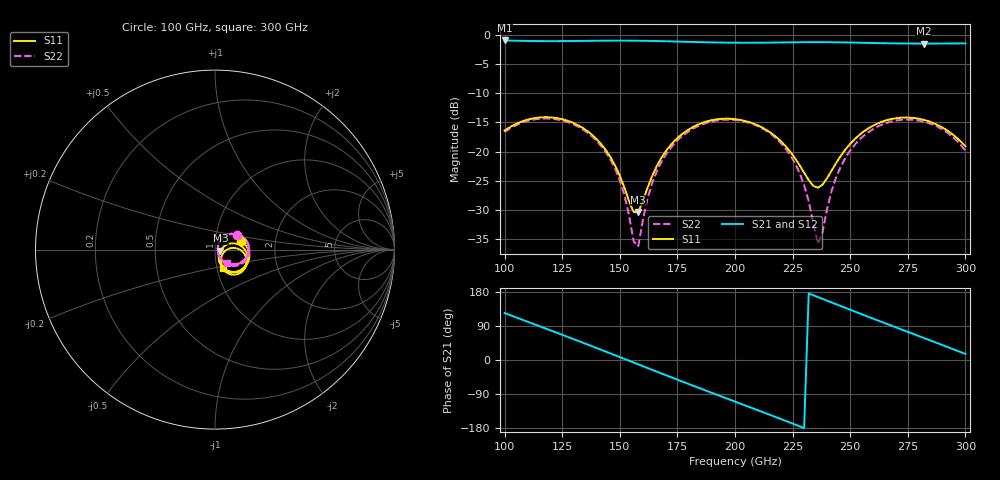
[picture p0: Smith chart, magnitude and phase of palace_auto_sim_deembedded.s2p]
! Created with skrf 1.11.0 (http://scikit-rf.org).
# GHz S DB R 50.0
!freq dBS11 angS11 dBS21 angS21 dBS12 angS12 dBS22 angS22
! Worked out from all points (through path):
!   101 points, 100 GHz to 300 GHz, reference 50 ohm
!   highest |S21| = -0.92 dB at 100 GHz (marker M1); lowest = -1.5 dB at 282 GHz (marker M2)
!   group delay of S21, straight-line fit = 6.51 ps
!   lowest |S11| = -30.4 dB at 158 GHz (marker M3), VSWR 1.06, Z = 53.1 - j0.623 ohm
!   |S11| at or under -10 dB: start of sweep to end of sweep
!   |S22| runs from -36.2 to -14.3 dB; largest |S21 - S12| = 1e-13
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100  -16.40 17.9  -0.92 124.0  -0.92 124.0  -16.64 33.6
116  -14.12 -14.8  -1.03 87.2  -1.03 87.2  -14.34 1.7
134  -15.96 -51.4  -1.00 45.6  -1.00 45.6  -16.21 -34.9
148  -22.43 -70.7  -0.95 12.4  -0.95 12.4  -22.99 -59.1
152  -26.20 -65.9  -0.95 2.9  -0.95 2.9  -27.47 -59.9
156  -30.37 -36.8  -0.96 -6.7  -0.96 -6.7  -35.43 -31.5
158  -30.39 -11.2  -0.97 -11.5  -0.97 -11.5  -36.24 20.7
162  -26.26 18.0  -0.99 -21.0  -0.99 -21.0  -28.13 57.4
168  -21.12 22.2  -1.04 -35.3  -1.04 -35.3  -21.82 55.4
184  -15.35 -2.3  -1.21 -72.9  -1.21 -72.9  -15.62 26.5
200  -14.43 -31.9  -1.31 -109.8  -1.31 -109.8  -14.57 -5.2
212  -15.91 -52.4  -1.30 -137.4  -1.30 -137.4  -16.06 -28.9
222  -19.08 -64.6  -1.26 -160.7  -1.26 -160.7  -19.50 -47.5
230  -23.63 -59.8  -1.23 -179.7  -1.23 -179.7  -25.75 -56.0
234  -25.89 -41.9  -1.22 170.8  -1.22 170.8  -32.26 -42.3
236  -26.20 -28.4  -1.22 166.0  -1.22 166.0  -35.83 -7.8
242  -23.22 0.9  -1.23 151.7  -1.23 151.7  -26.65 58.9
248  -19.61 5.2  -1.26 137.4  -1.26 137.4  -21.03 55.0
258  -15.99 -5.8  -1.34 113.7  -1.34 113.7  -16.63 36.9
268  -14.40 -22.3  -1.42 90.4  -1.42 90.4  -14.82 16.5
282  -14.56 -46.3  -1.46 58.1  -1.46 58.1  -14.86 -12.3
300  -19.08 -66.4  -1.42 16.0  -1.42 16.0  -19.86 -46.8
